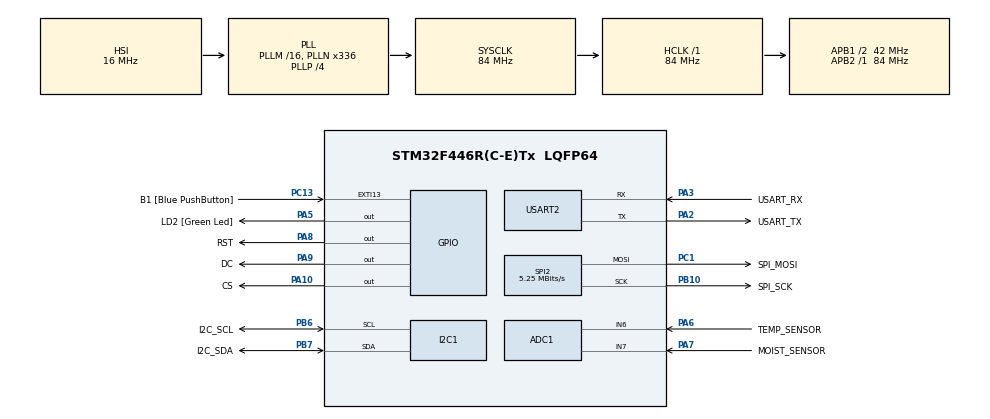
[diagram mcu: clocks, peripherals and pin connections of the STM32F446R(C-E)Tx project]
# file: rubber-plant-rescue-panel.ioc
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ADC1.Channel-1\#ChannelRegularConversion=ADC_CHANNEL_6
ADC1.Channel-2\#ChannelRegularConversion=ADC_CHANNEL_7
ADC1.ClockPrescaler=ADC_CLOCK_SYNC_PCLK_DIV8
ADC1.EOCSelection=ADC_EOC_SEQ_CONV
ADC1.NbrOfConversion=2
ADC1.NbrOfConversionFlag=1
ADC1.Rank-1\#ChannelRegularConversion=1
ADC1.Rank-2\#ChannelRegularConversion=2
ADC1.SamplingTime-1\#ChannelRegularConversion=ADC_SAMPLETIME_480CYCLES
ADC1.SamplingTime-2\#ChannelRegularConversion=ADC_SAMPLETIME_480CYCLES
ADC1.ScanConvMode=ENABLE
ADC1.master=1
Dma.ADC1.0.Direction=DMA_PERIPH_TO_MEMORY
Dma.ADC1.0.FIFOMode=DMA_FIFOMODE_DISABLE
Dma.ADC1.0.Instance=DMA2_Stream0
Dma.ADC1.0.MemDataAlignment=DMA_MDATAALIGN_HALFWORD
Dma.ADC1.0.MemInc=DMA_MINC_ENABLE
Dma.ADC1.0.Mode=DMA_NORMAL
Dma.ADC1.0.PeriphDataAlignment=DMA_PDATAALIGN_HALFWORD
Dma.ADC1.0.PeriphInc=DMA_PINC_DISABLE
Dma.ADC1.0.Priority=DMA_PRIORITY_LOW
Dma.Request0=ADC1
Mcu.Family=STM32F4
Mcu.Name=STM32F446R(C-E)Tx
Mcu.Package=LQFP64
NVIC.DMA2_Stream0_IRQn=true\:0\:0\:false\:false\:true\:false\:true\:true
NVIC.I2C1_EV_IRQn=true\:0\:0\:false\:false\:true\:true\:true\:true
NVIC.PriorityGroup=NVIC_PRIORITYGROUP_0
PA10.GPIO_Label=CS
PA10.Signal=GPIO_Output
PA13.GPIO_Label=TMS
PA13.Signal=SYS_JTMS-SWDIO
PA14.GPIO_Label=TCK
PA14.Signal=SYS_JTCK-SWCLK
PA2.GPIO_Label=USART_TX
PA2.Mode=Asynchronous
PA2.Signal=USART2_TX
PA3.GPIO_Label=USART_RX
PA3.Mode=Asynchronous
PA3.Signal=USART2_RX
PA5.GPIO_Label=LD2 [Green Led]
PA5.Signal=GPIO_Output
PA6.GPIO_Label=TEMP_SENSOR
PA6.Signal=ADCx_IN6
PA7.GPIO_Label=MOIST_SENSOR
PA7.Signal=ADCx_IN7
PA8.GPIO_Label=RST
PA8.Signal=GPIO_Output
PA9.GPIO_Label=DC
PA9.Signal=GPIO_Output
PB10.GPIO_Label=SPI_SCK
PB10.Mode=TX_Only_Simplex_Unidirect_Master
PB10.Signal=SPI2_SCK
PB3.GPIO_Label=SWO
PB3.Signal=SYS_JTDO-SWO
PB6.GPIO_Label=I2C_SCL
PB6.GPIO_Pu=GPIO_NOPULL
PB6.Mode=I2C
PB6.Signal=I2C1_SCL
PB7.GPIO_Label=I2C_SDA
PB7.GPIO_Pu=GPIO_NOPULL
PB7.Mode=I2C
PB7.Signal=I2C1_SDA
PC1.GPIO_Label=SPI_MOSI
PC1.Mode=TX_Only_Simplex_Unidirect_Master
PC1.Signal=SPI2_MOSI
PC13.GPIO_Label=B1 [Blue PushButton]
PC13.GPIO_ModeDefaultEXTI=GPIO_MODE_IT_FALLING
PC13.Signal=GPXTI13
PC14-OSC32_IN.Signal=RCC_OSC32_IN
PC15-OSC32_OUT.Signal=RCC_OSC32_OUT
PH0-OSC_IN.Signal=RCC_OSC_IN
PH1-OSC_OUT.Signal=RCC_OSC_OUT
ProjectManager.HeapSize=0x200
ProjectManager.StackSize=0x400
ProjectManager.TargetToolchain=CMake
RCC.AHBFreq_Value=84000000
RCC.APB1CLKDivider=RCC_HCLK_DIV2
RCC.APB1Freq_Value=42000000
RCC.APB1TimFreq_Value=84000000
RCC.APB2Freq_Value=84000000
RCC.APB2TimFreq_Value=84000000
RCC.CortexFreq_Value=84000000
RCC.FLatency-AdvancedSettings=FLASH_LATENCY_2
RCC.HCLKFreq_Value=84000000
RCC.HSE_VALUE=8000000
RCC.HSI_VALUE=16000000
RCC.LSE_VALUE=32768
RCC.PLLN=336
RCC.PLLP=RCC_PLLP_DIV4
RCC.SYSCLKFreq_VALUE=84000000
RCC.SYSCLKSource=RCC_SYSCLKSOURCE_PLLCLK
RCC.USBFreq_Value=168000000
RCC.VCOOutputFreq_Value=336000000
SH.ADCx_IN6.0=ADC1_IN6,IN6
SH.ADCx_IN7.0=ADC1_IN7,IN7
SPI2.BaudRatePrescaler=SPI_BAUDRATEPRESCALER_8
SPI2.CalculateBaudRate=5.25 MBits/s
SPI2.Direction=SPI_DIRECTION_2LINES
SPI2.Mode=SPI_MODE_MASTER
SPI2.VirtualType=VM_MASTER
USART2.VirtualMode=VM_ASYNC
board=NUCLEO-F446RE

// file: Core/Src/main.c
/* USER CODE BEGIN Header */
/**
  ******************************************************************************
  * @file           : main.c
  * @brief          : Main program body
  ******************************************************************************
  * @attention
  *
  * Copyright (c) 2026 STMicroelectronics.
  * All rights reserved.
  *
  * This software is licensed under terms that can be found in the LICENSE file
  * in the root directory of this software component.
  * If no LICENSE file comes with this software, it is provided AS-IS.
  *
  ******************************************************************************
  */
/* USER CODE END Header */
#include "main.h"

/* USER CODE BEGIN Includes */

#include <string.h>
#include <stdio.h>
#include "stats/stats.h"
#include "stats/stats_gui.h"
#include "drivers/tsl_25911.h"
#include "drivers/waveshare_24777.h"

/* USER CODE END Includes */

ADC_HandleTypeDef hadc1;
DMA_HandleTypeDef hdma_adc1;

I2C_HandleTypeDef hi2c1;

SPI_HandleTypeDef hspi2;

UART_HandleTypeDef huart2;

void SystemClock_Config(void);
static void MX_GPIO_Init(void);
static void MX_DMA_Init(void);
static void MX_I2C1_Init(void);
static void MX_USART2_UART_Init(void);
static void MX_SPI2_Init(void);
static void MX_ADC1_Init(void);

/* USER CODE BEGIN 0 */

#define REFRESH_PERIOD_MS 100
#define OLED_CONTRAST 127

/* USER CODE END 0 */

int main(void)
{

  /* USER CODE BEGIN 1 */
  uint32_t last_refresh_ts = 0;
  SensorStats stats;

  /* USER CODE END 1 */

  /* MCU Configuration--------------------------------------------------------*/

  /* Reset of all peripherals, Initializes the Flash interface and the Systick. */
  HAL_Init();

  /* Configure the system clock */
  SystemClock_Config();

  /* Initialize all configured peripherals */
  MX_GPIO_Init();
  MX_DMA_Init();
  MX_I2C1_Init();
  MX_USART2_UART_Init();
  MX_SPI2_Init();
  MX_ADC1_Init();
  /* USER CODE BEGIN 2 */

  tsl_25911_enable_sensor_default();
  oled_enable(127);

  /* USER CODE END 2 */

  /* Infinite loop */
  /* USER CODE BEGIN WHILE */
  while (1)
  {
    if (HAL_GetTick() - last_refresh_ts > REFRESH_PERIOD_MS) {
      get_stats(&stats);
      stats_gui_refresh(&stats);

      last_refresh_ts = HAL_GetTick();
    }
    /* USER CODE END WHILE */

  }
}

void SystemClock_Config(void)
{
  RCC_OscInitTypeDef RCC_OscInitStruct = {0};
  RCC_ClkInitTypeDef RCC_ClkInitStruct = {0};

  /** Configure the main internal regulator output voltage
  */
  __HAL_RCC_PWR_CLK_ENABLE();
  __HAL_PWR_VOLTAGESCALING_CONFIG(PWR_REGULATOR_VOLTAGE_SCALE3);

  /** Initializes the RCC Oscillators according to the specified parameters
  * in the RCC_OscInitTypeDef structure.
  */
  RCC_OscInitStruct.OscillatorType = RCC_OSCILLATORTYPE_HSI;
  RCC_OscInitStruct.HSIState = RCC_HSI_ON;
  RCC_OscInitStruct.HSICalibrationValue = RCC_HSICALIBRATION_DEFAULT;
  RCC_OscInitStruct.PLL.PLLState = RCC_PLL_ON;
  RCC_OscInitStruct.PLL.PLLSource = RCC_PLLSOURCE_HSI;
  RCC_OscInitStruct.PLL.PLLM = 16;
  RCC_OscInitStruct.PLL.PLLN = 336;
  RCC_OscInitStruct.PLL.PLLP = RCC_PLLP_DIV4;
  RCC_OscInitStruct.PLL.PLLQ = 2;
  RCC_OscInitStruct.PLL.PLLR = 2;
  if (HAL_RCC_OscConfig(&RCC_OscInitStruct) != HAL_OK)
  {
    Error_Handler();
  }

  /** Initializes the CPU, AHB and APB buses clocks
  */
  RCC_ClkInitStruct.ClockType = RCC_CLOCKTYPE_HCLK|RCC_CLOCKTYPE_SYSCLK
                              |RCC_CLOCKTYPE_PCLK1|RCC_CLOCKTYPE_PCLK2;
  RCC_ClkInitStruct.SYSCLKSource = RCC_SYSCLKSOURCE_PLLCLK;
  RCC_ClkInitStruct.AHBCLKDivider = RCC_SYSCLK_DIV1;
  RCC_ClkInitStruct.APB1CLKDivider = RCC_HCLK_DIV2;
  RCC_ClkInitStruct.APB2CLKDivider = RCC_HCLK_DIV1;

  if (HAL_RCC_ClockConfig(&RCC_ClkInitStruct, FLASH_LATENCY_2) != HAL_OK)
  {
    Error_Handler();
  }
}

static void MX_ADC1_Init(void)
{

  ADC_ChannelConfTypeDef sConfig = {0};

  /** Configure the global features of the ADC (Clock, Resolution, Data Alignment and number of conversion)
  */
  hadc1.Instance = ADC1;
  hadc1.Init.ClockPrescaler = ADC_CLOCK_SYNC_PCLK_DIV8;
  hadc1.Init.Resolution = ADC_RESOLUTION_12B;
  hadc1.Init.ScanConvMode = ENABLE;
  hadc1.Init.ContinuousConvMode = DISABLE;
  hadc1.Init.DiscontinuousConvMode = DISABLE;
  hadc1.Init.ExternalTrigConvEdge = ADC_EXTERNALTRIGCONVEDGE_NONE;
  hadc1.Init.ExternalTrigConv = ADC_SOFTWARE_START;
  hadc1.Init.DataAlign = ADC_DATAALIGN_RIGHT;
  hadc1.Init.NbrOfConversion = 2;
  hadc1.Init.DMAContinuousRequests = DISABLE;
  hadc1.Init.EOCSelection = ADC_EOC_SEQ_CONV;
  if (HAL_ADC_Init(&hadc1) != HAL_OK)
  {
    Error_Handler();
  }

  /** Configure for the selected ADC regular channel its corresponding rank in the sequencer and its sample time.
  */
  sConfig.Channel = ADC_CHANNEL_6;
  sConfig.Rank = 1;
  sConfig.SamplingTime = ADC_SAMPLETIME_480CYCLES;
  if (HAL_ADC_ConfigChannel(&hadc1, &sConfig) != HAL_OK)
  {
    Error_Handler();
  }

  /** Configure for the selected ADC regular channel its corresponding rank in the sequencer and its sample time.
  */
  sConfig.Channel = ADC_CHANNEL_7;
  sConfig.Rank = 2;
  if (HAL_ADC_ConfigChannel(&hadc1, &sConfig) != HAL_OK)
  {
    Error_Handler();
  }

}

static void MX_I2C1_Init(void)
{

  hi2c1.Instance = I2C1;
  hi2c1.Init.ClockSpeed = 100000;
  hi2c1.Init.DutyCycle = I2C_DUTYCYCLE_2;
  hi2c1.Init.OwnAddress1 = 0;
  hi2c1.Init.AddressingMode = I2C_ADDRESSINGMODE_7BIT;
  hi2c1.Init.DualAddressMode = I2C_DUALADDRESS_DISABLE;
  hi2c1.Init.OwnAddress2 = 0;
  hi2c1.Init.GeneralCallMode = I2C_GENERALCALL_DISABLE;
  hi2c1.Init.NoStretchMode = I2C_NOSTRETCH_DISABLE;
  if (HAL_I2C_Init(&hi2c1) != HAL_OK)
  {
    Error_Handler();
  }

}

static void MX_SPI2_Init(void)
{

  /* SPI2 parameter configuration*/
  hspi2.Instance = SPI2;
  hspi2.Init.Mode = SPI_MODE_MASTER;
  hspi2.Init.Direction = SPI_DIRECTION_2LINES;
  hspi2.Init.DataSize = SPI_DATASIZE_8BIT;
  hspi2.Init.CLKPolarity = SPI_POLARITY_LOW;
  hspi2.Init.CLKPhase = SPI_PHASE_1EDGE;
  hspi2.Init.NSS = SPI_NSS_SOFT;
  hspi2.Init.BaudRatePrescaler = SPI_BAUDRATEPRESCALER_8;
  hspi2.Init.FirstBit = SPI_FIRSTBIT_MSB;
  hspi2.Init.TIMode = SPI_TIMODE_DISABLE;
  hspi2.Init.CRCCalculation = SPI_CRCCALCULATION_DISABLE;
  hspi2.Init.CRCPolynomial = 10;
  if (HAL_SPI_Init(&hspi2) != HAL_OK)
  {
    Error_Handler();
  }

}

static void MX_USART2_UART_Init(void)
{

  huart2.Instance = USART2;
  huart2.Init.BaudRate = 115200;
  huart2.Init.WordLength = UART_WORDLENGTH_8B;
  huart2.Init.StopBits = UART_STOPBITS_1;
  huart2.Init.Parity = UART_PARITY_NONE;
  huart2.Init.Mode = UART_MODE_TX_RX;
  huart2.Init.HwFlowCtl = UART_HWCONTROL_NONE;
  huart2.Init.OverSampling = UART_OVERSAMPLING_16;
  if (HAL_UART_Init(&huart2) != HAL_OK)
  {
    Error_Handler();
  }

}

static void MX_DMA_Init(void)
{

  /* DMA controller clock enable */
  __HAL_RCC_DMA2_CLK_ENABLE();

  /* DMA interrupt init */
  /* DMA2_Stream0_IRQn interrupt configuration */
  HAL_NVIC_SetPriority(DMA2_Stream0_IRQn, 0, 0);
  HAL_NVIC_EnableIRQ(DMA2_Stream0_IRQn);

}

static void MX_GPIO_Init(void)
{
  GPIO_InitTypeDef GPIO_InitStruct = {0};

  /* GPIO Ports Clock Enable */
  __HAL_RCC_GPIOC_CLK_ENABLE();
  __HAL_RCC_GPIOH_CLK_ENABLE();
  __HAL_RCC_GPIOA_CLK_ENABLE();
  __HAL_RCC_GPIOB_CLK_ENABLE();

  /*Configure GPIO pin Output Level */
  HAL_GPIO_WritePin(GPIOA, LD2_Pin|RST_Pin|DC_Pin|CS_Pin, GPIO_PIN_RESET);

  /*Configure GPIO pin : B1_Pin */
  GPIO_InitStruct.Pin = B1_Pin;
  GPIO_InitStruct.Mode = GPIO_MODE_IT_FALLING;
  GPIO_InitStruct.Pull = GPIO_NOPULL;
  HAL_GPIO_Init(B1_GPIO_Port, &GPIO_InitStruct);

  /*Configure GPIO pins : LD2_Pin RST_Pin DC_Pin CS_Pin */
  GPIO_InitStruct.Pin = LD2_Pin|RST_Pin|DC_Pin|CS_Pin;
  GPIO_InitStruct.Mode = GPIO_MODE_OUTPUT_PP;
  GPIO_InitStruct.Pull = GPIO_NOPULL;
  GPIO_InitStruct.Speed = GPIO_SPEED_FREQ_LOW;
  HAL_GPIO_Init(GPIOA, &GPIO_InitStruct);

}

void Error_Handler(void)
{
  __disable_irq();
  while (1)
  {
  }
}
